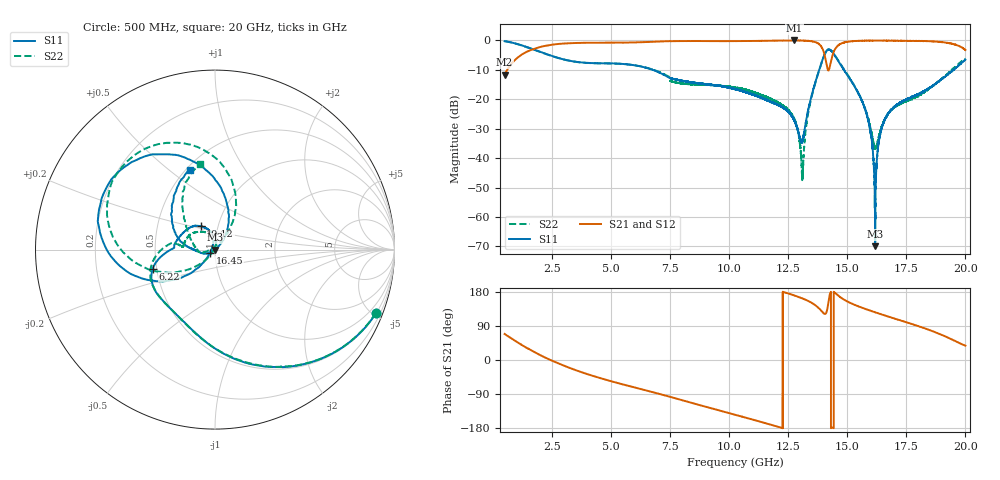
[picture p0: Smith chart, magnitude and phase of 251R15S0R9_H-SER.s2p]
!{251R15S0R9}
!Johanson Technology Inc.
!www.johansontechnology.com
!Test Board Conditions:
!Substrate Type  RO4350B
!Substrate Thickness  20 mil
!Substrate Dk  3.66
!TL Type: GCPW
!TL Trace Width  34 mil
!TL Gap  10 mil
!Electrode orientation  Horizontal
!DUT TOPOLOGY	SERIES
!Mounting Pad LxW  26x52 mil
! Created Thu Mar 12 16:30:08 2020
# mhz S ma R 50
! 2 Port Network Data from SP1.SP block
! freq  magS11  angS11  magS21  angS21  magS12  angS12  magS22  angS22
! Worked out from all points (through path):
!   19501 points, 500 MHz to 20 GHz, reference 50 ohm
!   highest |S21| = -0.07 dB at 12.76 GHz (marker M1); lowest = -11.7 dB at 500 MHz (marker M2)
!   lowest |S11| = -69.9 dB at 16.18 GHz (marker M3), VSWR 1.00, Z = 50 - j0.0164 ohm
!   |S11| at or under -10 dB: 6.754 GHz to 13.81 GHz (7.06 GHz wide, 68.7 % of centre); 14.86 GHz to 19.5 GHz (4.641 GHz wide, 27 % of centre); 19.50162 GHz to 19.50312 GHz (1.5 MHz wide, 0.00769 % of centre) (the widest 3 of 6)
!   |S22| runs from -47.5 to -0.3 dB; largest |S21 - S12| = 0.019
!   S11 on the Smith chart (normalised r, x): 500 MHz: 0.52, -5.26; 6.22 GHz: 0.48, -0.12; 10.12 GHz: 0.83, +0.22; 16.45 GHz: 0.95, -0.03; 20 GHz: 0.52, +0.60
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500  0.9649 -21.3  0.2608 68.8  0.2616 68.8  0.9634 -21.4
1252  0.8125 -51.4  0.5796 38.7  0.5804 38.7  0.8091 -51.8
2185  0.5999 -82.5  0.7984 7.5  0.799 7.5  0.5959 -82.8
3750  0.4204 -120.6  0.903 -32.1  0.9032 -32.0  0.4186 -122.2
6220  0.3623 -163.1  0.9248 -75.8  0.9259 -75.9  0.363 -166.6
7000  0.2888 -174.4  0.9499 -88.7  0.9511 -88.7  0.2938 179.2
10122  0.1524 121.5  0.967 -142.3  0.9674 -142.3  0.1613 148.7
10250  0.1476 119.8  0.9671 -144.5  0.9679 -144.5  0.1581 146.5
12758  0.04339 101.7  0.9919 170.3  0.9881 170.4  0.04624 81.5
13103  0.01958 177.2  0.9867 162.4  0.9853 162.5  0.00505 166.2
13500  0.1174 -132.2  0.96 150.6  0.9605 150.7  0.1132 -135.8
13876  0.3798 -152.6  0.8084 131.6  0.8126 131.0  0.3744 -162.2
14099  0.6365 173.9  0.4421 123.2  0.4441 122.4  0.632 162.2
14388  0.6189 120.8  0.576 -178.7  0.5736 -178.9  0.6222 107.6
14801  0.3404 84.0  0.8987 161.7  0.8948 162.1  0.3508 72.0
15732  0.07152 50.1  0.9841 135.6  0.9785 135.6  0.07254 53.3
15975  0.02919 42.4  0.9848 130.3  0.9848 130.3  0.03353 64.0
16182  0.0003203 -30.8  0.988 125.9  0.9864 125.9  0.01516 122.2
16451  0.0318 -147.6  0.9879 120.2  0.9816 120.4  0.03374 -174.5
16750  0.0589 -157.5  0.9876 114.5  0.9844 114.3  0.05811 -165.9
18622  0.1687 171.2  0.9561 75.7  0.9508 75.6  0.1682 150.2
20000  0.4673 107.4  0.6828 37.9  0.6839 38.2  0.4839 99.7
